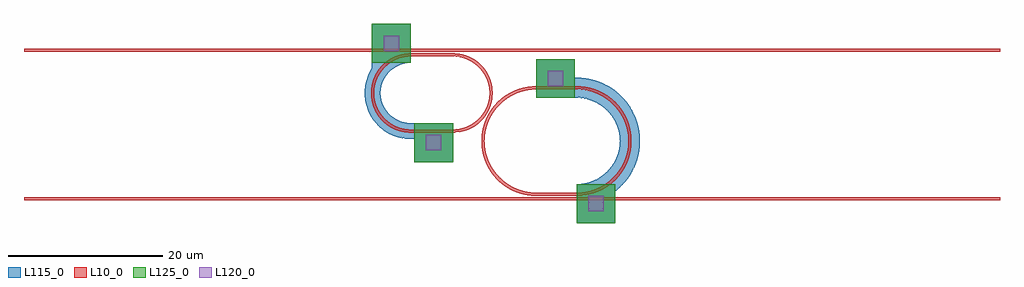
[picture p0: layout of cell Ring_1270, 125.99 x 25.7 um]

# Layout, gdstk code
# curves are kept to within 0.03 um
from math import pi, radians
import gdstk
lib = gdstk.Library(unit=1e-6, precision=1e-09)
def R(c, l, rs):  # rectangles x0, y0, x1, y1
    for r in rs: c.add(gdstk.rectangle(r[:2], r[2:], *l))
def P(c, l, *ps):  # polygons
    for p in ps: c.add(gdstk.Polygon(p, *l))
L10_0 = (10, 0)
L115_0 = (115, 0)
L120_0 = (120, 0)
L125_0 = (125, 0)

unnamed_7 = lib.new_cell('Unnamed_7')
P(unnamed_7, L115_0, [(4.712,-11.598),(3.619,-11.464),(2.366,-11.04),(1.501,-10.54),(0.604,-9.757),(0.172,-9.25),(-0.145,-8.791),(-0.592,-7.855),(-0.928,-6.672),(-1,-5.484),(-0.875,-4.428),(-0.493,-3.252),(0.031,-2.309),(0.729,-1.482),(1.556,-0.789),(2.454,-0.289),(3.741,0.123),(4.315,0.209),(4.914,0.23),(4.914,-1.772),(4.418,-1.811),(3.768,-1.945),(3.237,-2.159),(2.859,-2.372),(2.118,-2.947),(1.748,-3.406),(1.387,-4.011),(1.127,-4.723),(1.002,-5.662),(1.127,-6.645),(1.387,-7.357),(1.889,-8.153),(2.369,-8.651),(3.237,-9.209),(3.966,-9.474),(4.977,-9.598),(10.382,-9.596),(10.382,-11.598)])

bend_circular_gdsfactory = lib.new_cell('bend_circular_gdsfactorypcomponentspbendspbend_circular_5d477915')
P(bend_circular_gdsfactory, L10_0, [(0,-0.19),(0,0.19),(0.553,0.222),(1.086,0.316),(2.074,0.669),(2.652,1.004),(3.138,1.382),(3.587,1.839),(3.953,2.327),(4.4,2.327),(4.037,1.79),(3.596,1.291),(3.085,0.847),(2.569,0.503),(1.956,0.199),(1.327,-0.015),(0.695,-0.143)],
  [(3.953,2.327),(4.286,2.926),(4.517,3.529),(4.669,4.192),(4.723,4.845),(5.104,4.845),(4.982,3.802),(4.643,2.793),(4.4,2.327)],
  [(4.724,4.845),(4.687,5.508),(4.549,6.19),(4.32,6.827),(3.998,7.431),(4.442,7.429),(4.717,6.865),(4.92,6.274),(5.061,5.579),(5.104,4.845)],
  [(3.997,7.431),(3.382,8.213),(2.563,8.883),(1.964,9.211),(1.342,9.444),(0.682,9.589),(0,9.638),(0,10.018),(0.744,9.964),(1.454,9.807),(2.173,9.533),(2.788,9.19),(3.549,8.583),(4.207,7.805),(4.44,7.431)])

unnamed_8 = lib.new_cell('Unnamed_8')
R(unnamed_8, L10_0, [(4.914,-10.788,10.382,-10.408), (4.914,-0.96,10.382,-0.58)])
unnamed_8.add(gdstk.Reference(bend_circular_gdsfactory, (4.914,-10.598), rotation=pi, x_reflection=True))
unnamed_8.add(gdstk.Reference(bend_circular_gdsfactory, (10.382,-10.598)))

unnamed_16 = lib.new_cell('Unnamed_16')
P(unnamed_16, L115_0, [(26.354,-20.038),(26.354,-17.473),(27.514,-17.348),(28.415,-17.07),(28.897,-16.862),(29.325,-16.61),(30.281,-15.86),(30.61,-15.498),(31.133,-14.767),(31.591,-13.82),(31.829,-12.982),(31.941,-11.893),(31.829,-10.79),(31.591,-9.952),(31.133,-9.005),(30.743,-8.445),(30.295,-7.926),(29.863,-7.547),(29.325,-7.162),(28.897,-6.91),(28.415,-6.702),(27.514,-6.424),(26.354,-6.299),(26.354,-3.734),(26.568,-3.734),(27.232,-3.773),(27.933,-3.883),(28.776,-4.092),(29.525,-4.368),(30.472,-4.84),(30.94,-5.129),(31.508,-5.554),(32.099,-6.086),(32.724,-6.778),(33.195,-7.428),(33.54,-8.031),(33.971,-8.955),(34.209,-9.675),(34.412,-10.601),(34.494,-11.333),(34.506,-12.076),(34.466,-12.775),(34.352,-13.489),(34.137,-14.344),(33.871,-15.059),(33.401,-16.002),(33.127,-16.448),(32.676,-17.052),(32.099,-17.686),(31.436,-18.277),(30.84,-18.709),(30.207,-19.073),(29.254,-19.515),(28.58,-19.737),(27.737,-19.927),(27.051,-20.016)])

c_bend_circular_gdsfactory = lib.new_cell('bend_circular_gdsfactorypcomponentspbendspbend_circular_eadc0d31')
P(c_bend_circular_gdsfactory, L10_0, [(0,-0.19),(0,0.19),(0.961,0.259),(1.875,0.458),(3.022,0.912),(4.044,1.554),(4.646,1.554),(4.153,1.16),(3.583,0.786),(2.495,0.265),(1.283,-0.073)],
  [(4.045,1.554),(4.923,2.354),(5.645,3.299),(6.091,3.299),(5.463,2.397),(4.657,1.563)],
  [(5.645,3.299),(6.071,4.082),(6.402,4.961),(6.606,5.875),(6.679,6.788),(7.06,6.789),(6.933,5.534),(6.769,4.862),(6.548,4.229),(6.091,3.299)],
  [(6.68,6.789),(6.624,7.737),(6.436,8.661),(6.122,9.544),(5.696,10.359),(6.138,10.359),(6.516,9.589),(6.81,8.734),(7.003,7.769),(7.06,6.789)],
  [(5.696,10.359),(4.98,11.323),(4.1,12.144),(4.694,12.144),(5.267,11.572),(5.726,11.001),(6.138,10.359)],
  [(4.099,12.144),(3.204,12.732),(2.197,13.179),(1.12,13.456),(0,13.55),(0,13.93),(0.736,13.892),(1.455,13.779),(2.16,13.592),(2.836,13.336),(3.806,12.817),(4.691,12.147)])

unnamed_17 = lib.new_cell('Unnamed_17')
R(unnamed_17, L10_0, [(21.124,-18.946,26.354,-18.566), (21.124,-5.206,26.354,-4.826)])
unnamed_17.add(gdstk.Reference(c_bend_circular_gdsfactory, (21.124,-18.756), rotation=pi, x_reflection=True))
unnamed_17.add(gdstk.Reference(c_bend_circular_gdsfactory, (26.354,-18.756)))

ring_1270 = lib.new_cell('Ring_1270')
R(ring_1270, L10_0, [(-45,-19.526,80.994,-19.146), (-45,-0.38,80.994,0)])
R(ring_1270, L115_0, [(26.354,-22.473,31.354,-17.473), (5.382,-14.598,10.382,-9.598), (21.124,-6.299,26.354,-3.733), (21.124,-6.299,26.124,-1.299), (-0.086,-2.77,0.914,-1.77), (-0.086,-1.77,4.914,3.23)])
R(ring_1270, L120_0, [(27.854,-20.973,29.854,-18.973), (6.882,-13.098,8.882,-11.098), (22.624,-4.799,24.624,-2.799), (1.414,-0.27,3.414,1.73)])
R(ring_1270, L125_0, [(26.354,-22.473,31.354,-17.473), (5.382,-14.598,10.382,-9.598), (21.124,-6.299,26.124,-1.299), (-0.086,-1.77,4.914,3.23)])
ring_1270.add(gdstk.Reference(unnamed_7, (0,0)))
ring_1270.add(gdstk.Reference(unnamed_8, (0,0)))
ring_1270.add(gdstk.Reference(unnamed_16, (0,0)))
ring_1270.add(gdstk.Reference(unnamed_17, (0,0)))

lib.write_gds('Ring_1270.gds')
